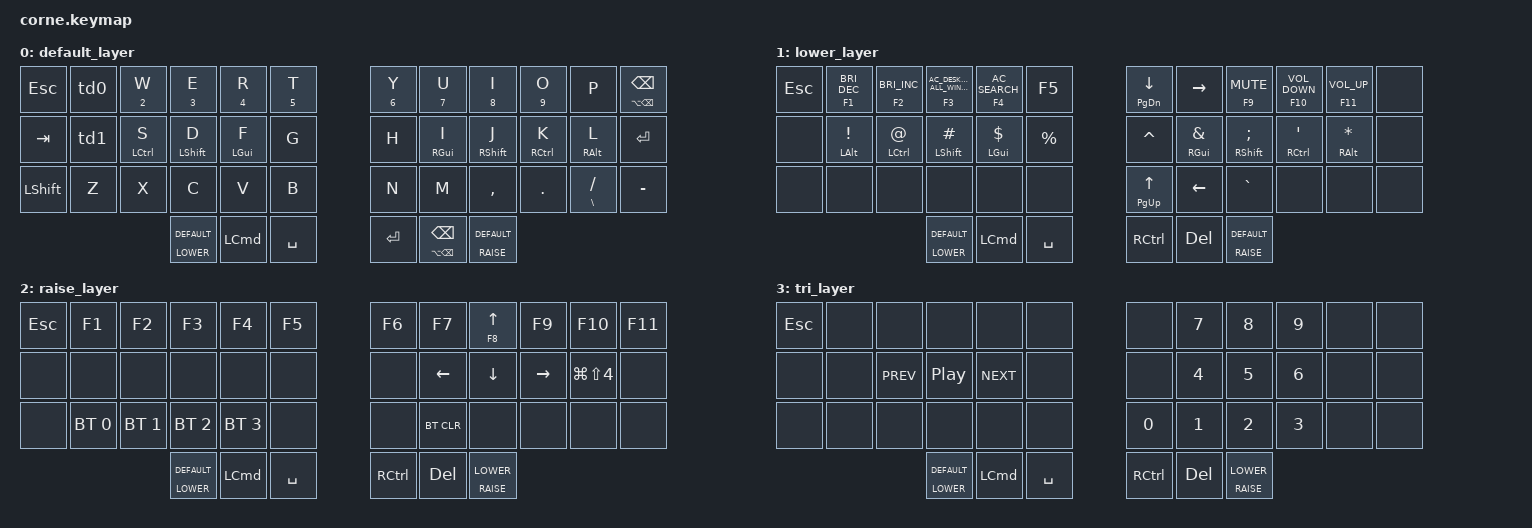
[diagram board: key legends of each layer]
#include <behaviors.dtsi>
#include <dt-bindings/zmk/mouse.h>
#include <dt-bindings/zmk/bt.h>
#include <dt-bindings/zmk/keys.h>

#define DEFAULT 0
#define LOWER 1
#define RAISE 2

// Media controls
#define VOL_DOWN C_VOLUME_DOWN
#define VOL_UP C_VOLUME_UP
#define VOL_MUTE K_MUTE
#define PREV C_PREVIOUS
#define PLAY C_PLAY_PAUSE
#define NEXT C_NEXT

// Display controls
#define BRIGHT C_BRIGHTNESS_INC
#define DARK C_BRIGHTNESS_DEC

// Window controls
#define APPS C_AC_DESKTOP_SHOW_ALL_WINDOWS
#define SEARCH C_AC_SEARCH


/ {
    behaviors {
        /*
         * htl
         *
         * - tab once to switch layer
         * - hold to enable layer until release
         */
        htl: hold_tab_layer {
            compatible = "zmk,behavior-hold-tap";
            label = "HOLD_TAB_LAYER";
            #binding-cells = <2>;
            tapping-term-ms = <150>;
            quick_tap_ms = <0>;
            flavor = "balanced";
            bindings = <&mo>, <&to>;
        };

        /*
         * hm
         * 
         * - tab once for key press 2nd item
         * - hold for key press 1st item
         */
        hm: homerow_mods {
            compatible = "zmk,behavior-hold-tap";
            label = "HOMEROW_MODS";
            #binding-cells = <2>;
            tapping-term-ms = <200>;
            quick_tap_ms = <0>;
            flavor = "tap-preferred";
            bindings = <&kp>, <&kp>;
        };

        // different key press on each press (LSHFT -> CAPS Lock)
        // https://zmk.dev/docs/behaviors/tap-dance

        /*
         * td_caps
         *
         * - tab once for 2nd item
         * - tab twice for 1st item
         */
        td_caps: tap_dance_caps {
            compatible = "zmk,behavior-tap-dance";
            label = "TAP_DANCE_CAPS";
            #binding-cells = <0>;
            tapping-term-ms = <400>;
            bindings = <&kp CAPS>, <&kp LSHFT>;
        };

        td0: tap_dance_0 {
            compatible = "zmk,behavior-tap-dance";
            #binding-cells = <0>;
            tapping-term-ms = <200>;
            bindings = <&hm N1 Q>, <&hm N1 ESC>;
        };

        td1: tap_dance_1 {
            compatible = "zmk,behavior-tap-dance";
            #binding-cells = <0>;
            tapping-term-ms = <200>;
            bindings = <&hm LALT A>, <&kp TAB>;
        };

        td2: tap_dance_2 {
            compatible = "zmk,behavior-tap-dance";
            #binding-cells = <0>;
            tapping-term-ms = <200>;
            bindings = <&hm N0 MINUS>, <&kp EQUAL>;
        };
    };

    combos {
        compatible = "zmk,combos";

        combo_brace_left {
            timeout-ms = <30>;
            key-positions = <15 16>;
            bindings = <&kp LEFT_BRACE>;
        };

        combo_bracket_left {
            timeout-ms = <30>;
            key-positions = <16 17>;
            bindings = <&kp LBKT>;
        };

        combo_bracket_right {
            timeout-ms = <30>;
            key-positions = <18 19>;
            bindings = <&kp RBKT>;
        };

        combo_brace_right {
            timeout-ms = <30>;
            key-positions = <19 20>;
            bindings = <&kp RIGHT_BRACE>;
        };

        combo_pipe {
            timeout-ms = <30>;
            key-positions = <27 28>;
            bindings = <&kp PIPE>;
        };

        combo_parenthesis_left {
            timeout-ms = <30>;
            key-positions = <28 29>;
            bindings = <&kp LEFT_PARENTHESIS>;
        };

        combo_parenthesis_right {
            timeout-ms = <30>;
            key-positions = <30 31>;
            bindings = <&kp RIGHT_PARENTHESIS>;
        };
    };

    conditional_layers {
        compatible = "zmk,conditional-layers";
        tri_layer {
            if-layers = <1 2>;
            then-layer = <3>;
        };
    };

    macros {
        delete_word: delete_word {
            compatible = "zmk,behavior-macro";
            label = "ZM_delete_word";
            #binding-cells = <0>;
            bindings
                = <&macro_press &kp LSHFT>
                , <&macro_tap &kp Z &kp M &kp K>
                , <&macro_release &kp LSHFT>
                ;
        };
    };

    // cheat-sheet https://peccu.github.io/zmk-cheat-sheet/
    keymap {
        compatible = "zmk,keymap";

        default_layer {
            bindings = <
                &kp ESC         &td0            &hm N2 W        &hm N3 E            &hm N4 R        &hm N5 T        &hm N6 Y        &hm N7 U            &hm N8 I            &hm N9 O            &kp P               &hm LA(BSPC) BSPC
                &kp TAB         &td1            &hm LCTRL S     &hm LSHIFT D        &hm LGUI F      &kp G           &kp H           &hm RGUI I          &hm RSHIFT J        &hm RCTRL K         &hm RALT L          &kp ENTER
                &kp LSHFT       &kp Z           &kp X           &kp C               &kp V           &kp B           &kp N           &kp M               &kp COMMA           &kp DOT             &hm BSLH FSLH       &kp MINUS
                                                                &htl LOWER DEFAULT  &kp LCMD        &kp SPACE                       &kp ENTER           &hm LA(BSPC) BSPC   &htl RAISE DEFAULT
            >;
        };

        lower_layer {
            bindings = <
                &kp ESC         &hm F1 DARK     &hm F2 BRIGHT   &hm F3 APPS         &hm F4 SEARCH   &kp F5          &hm PG_DN DOWN  &kp RIGHT           &hm F9 VOL_MUTE     &hm F10 VOL_DOWN    &hm F11 VOL_UP      &none
                &none           &hm LALT EXCL   &hm LCTRL AT    &hm LSHIFT HASH     &hm LGUI DOLLAR &kp PERCENT     &kp CARET       &hm RGUI AMPERSAND  &hm RSHIFT SEMI     &hm RCTRL APOS      &hm RALT ASTERISK   &none
                &none           &none           &none           &none               &none           &none           &hm PG_UP UP    &kp LEFT            &kp GRAVE           &none               &none               &none
                                                                &htl LOWER DEFAULT  &kp LCMD        &kp SPACE                       &kp RIGHT_CONTROL   &kp DEL        &htl RAISE DEFAULT

            >;
        };

        raise_layer {
            bindings = <
                &kp ESC         &kp F1          &kp F2          &kp F3              &kp F4          &kp F5          &kp F6          &kp F7              &hm F8 UP           &kp F9              &kp F10             &kp F11
                &none           &none           &none           &none               &none           &none           &none           &kp LEFT            &kp DOWN            &kp RIGHT           &kp LG(LS(N4))      &none
                &none           &bt BT_SEL 0    &bt BT_SEL 1    &bt BT_SEL 2        &bt BT_SEL 3    &none           &none           &bt BT_CLR          &none               &none               &none               &none
                                                                &htl LOWER DEFAULT  &kp LCMD        &kp SPACE                       &kp RIGHT_CONTROL   &kp DEL        &htl RAISE LOWER
            >;
        };

        tri_layer {
            bindings = <
                &kp ESC         &none           &none           &none               &none           &none           &none           &kp N7              &kp N8              &kp N9              &none               &none
                &none           &none           &kp C_PREV      &kp C_PP            &kp C_NEXT      &none           &none           &kp N4              &kp N5              &kp N6              &none               &none
                &none           &none           &none           &none               &none           &none           &kp N0          &kp N1              &kp N2              &kp N3              &none               &none
                                                                &htl LOWER DEFAULT  &kp LCMD        &kp SPACE                       &kp RIGHT_CONTROL   &kp DEL             &htl RAISE LOWER
            >;
        };
    };
};

